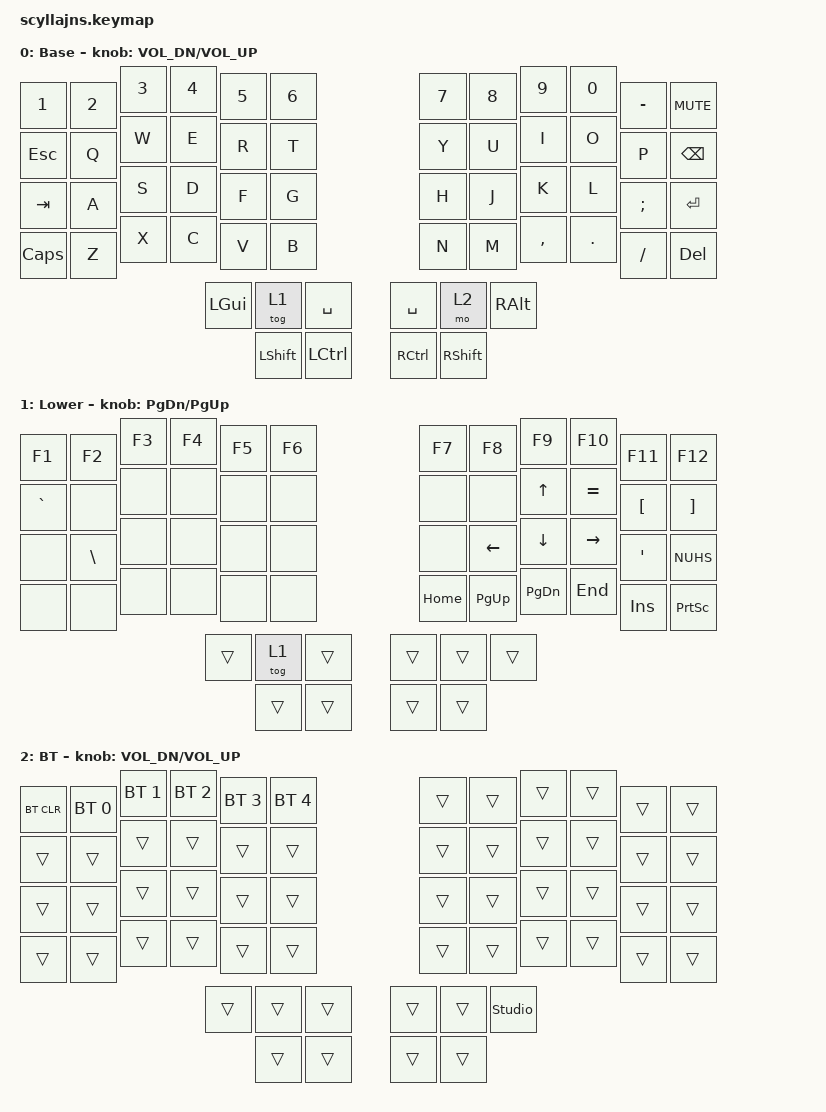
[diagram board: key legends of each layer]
/*
 * Copyright (c) 2020 The ZMK Contributors
 * SPDX-License-Identifier: MIT
 *
 * ScyllaJNS — keymap (58 teclas) — ABNT2
 *
 * Ordem dos bindings segue o matrix_transform exatamente:
 *   Linhas 0–3: 12 teclas cada  → 48 bindings
 *   Linha 4 thumb: 3 esq + 3 dir → 6 bindings   (RC 4,3..4,5 | 4,6..4,8)
 *   Linha 5 thumb: 2 esq + 2 dir → 4 bindings   (RC 5,4..5,5 | 5,6..5,7)
 *   Total: 58 bindings por layer
 *
 * Layout físico — default:
 * ╭─────┬─────┬─────┬─────┬─────┬─────╮   ╭─────┬─────┬─────┬─────┬─────┬─────╮
 * │ 1!¹ │ 2@² │ 3#³ │ 4$£ │ 5%¢ │ 6¨¬ │   │ 7&{ │ 8*[ │ 9(] │ 0)} │ -_\ │MUTE │  ← linha 0
 * ├─────┼─────┼─────┼─────┼─────┼─────┤   ├─────┼─────┼─────┼─────┼─────┼─────┤
 * │ ESC │  Q/ │  W? │  E° │  R® │  Tŧ │   │  Y← │  U↓ │  I→ │  Oø │  Pþ │BKSP │  ← linha 1
 * ├─────┼─────┼─────┼─────┼─────┼─────┤   ├─────┼─────┼─────┼─────┼─────┼─────┤
 * │ TAB │  Aæ │  Sß │  Dð │  Fđ │  Gŋ │   │  Hħ │  J̉̉ˀ │  K  │  Lł │  Ç´ │ ENT │  ← linha 2
 * ├─────┼─────┼─────┼─────┼─────┼─────┤   ├─────┼─────┼─────┼─────┼─────┼─────┤
 * │CAPS │  Z« │  X» │  C© │  V„ │  B“ │   │  N” │  Mµ │  <× │  >÷ │  :; │ DEL │  ← linha 3
 * ╰─────┴─────┴─────┼─────┼─────┼─────┤   ├─────┼─────┼─────┼─────┴─────┴─────╯
 *                   │ GUI │ LWR │ SPC │   │SHFT │ RSE │ ALT │                    ← linha 4
 *                   ╰─────┼─────┼─────╯   ╰─────┼─────╯─────╯
 *                         │ mo3 │ ALT │   │RALT │RCTL │                          ← linha 5
 *                         ╰─────┴─────╯   ╰─────┴─────╯
 *
 * Layout físico — lower (mo 1):
 * ╭─────┬─────┬─────┬─────┬─────┬─────╮   ╭─────┬─────┬─────┬─────┬─────┬─────╮
 * │     │     │     │     │     │     │   │     │     │     │     │ +=  │     │  ← linha 0
 * ├─────┼─────┼─────┼─────┼─────┼─────┤   ├─────┼─────┼─────┼─────┼─────┼─────┤
 * │     │     │     │     │     │     │   │     │     │     │     │ ~^  │  ´` │  ← linha 1
 * ├─────┼─────┼─────┼─────┼─────┼─────┤   ├─────┼─────┼─────┼─────┼─────┼─────┤
 * │     │  \  │     │     │     │     │   │     │     │     │     │     │     │  ← linha 2
 * ├─────┼─────┼─────┼─────┼─────┼─────┤   ├─────┼─────┼─────┼─────┼─────┼─────┤
 * │     │  §  |     │     │     │     │   │     │     │     │     │     │     │  ← linha 3
 * ╰─────┴─────┴─────┼─────┼─────┼─────┤   ├─────┼─────┼─────┼─────┴─────┴─────╯
 *                   │     │     │     │   │     │     │     │                    ← linha 4
 *                   ╰─────┼─────┼─────╯   ╰─────┼─────╯─────╯
 *                         │     │     │   │     │     │                          ← linha 5
 *                         ╰─────┴─────╯   ╰─────┴─────╯
 *
 * Referência ABNT2:
 *   Ç              → &kp SEMI
 *   < >            → &kp LS(COMMA)  /  &kp LS(DOT)
 *   :              → &kp LS(SEMI)
 *   { }            → &kp RA(SQT)    /  &kp RA(NUHS)
 *   [ ]            → &kp RA(LBKT)   /  &kp RA(RBKT)
 *   ~ (dead)       → &kp RBKT       (shift = ^ circunflexo)
 *   ´ (dead)       → &kp LBKT       (shift = ` grave)
 *   \              → &kp RA(MINUS)
 *   |              → &kp RA(EQUAL)
 *   '              → &kp SQT
 *   "              → &kp LS(SQT)
 */

#include <behaviors.dtsi>
#include <dt-bindings/zmk/keys.h>
#include <dt-bindings/zmk/bt.h>

/ {
    keymap {
        compatible = "zmk,keymap";

        default_layer {
            display-name = "Base";
            bindings = <
/* linha 0 */ &kp N1    &kp N2  &kp N3  &kp N4    &kp N5     &kp N6     &kp N7     &kp N8     &kp N9     &kp N0   &kp MINUS  &kp C_MUTE
/* linha 1 */ &kp ESC   &kp Q   &kp W   &kp E     &kp R      &kp T      &kp Y      &kp U      &kp I      &kp O    &kp P      &kp BSPC
/* linha 2 */ &kp TAB   &kp A   &kp S   &kp D     &kp F      &kp G      &kp H      &kp J      &kp K      &kp L    &kp SEMI   &kp RET
/* linha 3 */ &kp CAPS  &kp Z   &kp X   &kp C     &kp V      &kp B      &kp N      &kp M      &kp COMMA  &kp DOT  &kp FSLH   &kp DEL
/* linha 4 */                           &kp LGUI  &tog 1     &kp SPACE  &kp SPACE  &mo 2      &kp RALT
/* linha 5 */                                     &kp LSHFT  &kp LCTRL  &kp RCTRL  &kp RSHFT
            >;
            sensor-bindings = <&inc_dec_kp C_VOL_DN C_VOL_UP>;
        };

        lower_layer {
            display-name = "Lower";
            bindings = <
/* linha 0 */ &kp F1     &kp F2    &kp F3  &kp F4  &kp F5  &kp F6  &kp F7    &kp F8     &kp F9     &kp F10    &kp F11    &kp F12
/* linha 1 */ &kp GRAVE  &none     &none   &none   &none   &none   &none     &none      &kp UP     &kp EQUAL  &kp LBKT   &kp RBKT
/* linha 2 */ &none      &kp BSLH  &none   &none   &none   &none   &none     &kp LEFT   &kp DOWN   &kp RIGHT  &kp SQT    &kp NUHS
/* linha 3 */ &none      &none     &none   &none   &none   &none   &kp HOME  &kp PG_UP  &kp PG_DN  &kp END    &kp INS    &kp PSCRN
/* linha 4 */                                      &trans  &tog 1  &trans    &trans     &trans     &trans
/* linha 5 */                                              &trans  &trans    &trans     &trans
            >;
            sensor-bindings = <&inc_dec_kp PG_DN PG_UP>;
        };

        bt_layer {
            display-name = "BT";
            bindings = <
/* linha 0 */ &bt BT_CLR  &bt BT_SEL 0 &bt BT_SEL 1 &bt BT_SEL 2 &bt BT_SEL 3 &bt BT_SEL 4  &trans  &trans  &trans  &trans  &trans  &trans
/* linha 1 */ &trans      &trans       &trans       &trans       &trans       &trans        &trans  &trans  &trans  &trans  &trans  &trans
/* linha 2 */ &trans      &trans       &trans       &trans       &trans       &trans        &trans  &trans  &trans  &trans  &trans  &trans
/* linha 3 */ &trans      &trans       &trans       &trans       &trans       &trans        &trans  &trans  &trans  &trans  &trans  &trans
/* linha 4 */                                       &trans       &trans       &trans        &trans  &trans  &studio_unlock
/* linha 5 */                                                    &trans       &trans        &trans  &trans
            >;
            sensor-bindings = <&inc_dec_kp C_VOL_DN C_VOL_UP>;
        };

        /* Layers reservados para uso exclusivo no ZMK Studio */
        extra1 {
            display-name = "Extra 1";
            status = "reserved";
        };

        extra2 {
            display-name = "Extra 2";
            status = "reserved";
        };
    };

    behaviors {
        mt_fast: mtap_custom {
            compatible = "zmk,behavior-hold-tap";
            #binding-cells = <2>;
            tapping-term-ms = <400>;  /* aumente esse valor quick-tap-ms = <200>;*/
            flavor = "tap-preferred";  /* favorece o toque em vez do hold */
            bindings = <&kp>, <&kp>;
        };
    };
};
